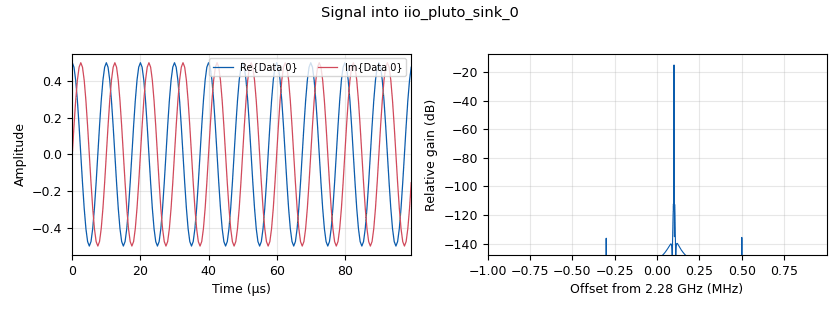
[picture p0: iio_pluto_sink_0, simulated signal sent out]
options:
  parameters:
    author: atkay
    generate_options: qt_gui
    id: test
    output_language: python
    title: Not titled yet
  states: {}

blocks:
- name: lo_freq
  id: variable
  parameters:
    value: int(2.28e9)
  states: {}
- name: samp_rate
  id: variable
  parameters:
    value: int(2e6)
  states: {}
- name: analog_sig_source_x_0
  id: analog_sig_source_x
  parameters:
    amp: '0.5'
    freq: 100e3
    offset: '0'
    phase: '0'
    samp_rate: samp_rate
    type: complex
    waveform: analog.GR_COS_WAVE
  states: {}
- name: iio_pluto_sink_0
  id: iio_pluto_sink
  parameters:
    attenuation1: '10.0'
    bandwidth: int(2e6)
    buffer_size: '32768'
    cyclic: 'False'
    filter_source: '''Auto'''
    frequency: lo_freq
    samplerate: samp_rate
    type: fc32
    uri: ip:192.168.3.1
  states: {}
- name: iio_pluto_source_0
  id: iio_pluto_source
  parameters:
    bandwidth: int(2e6)
    bbdc: 'True'
    buffer_size: '32768'
    filter_source: '''Auto'''
    frequency: lo_freq
    gain1: '''manual'''
    manual_gain1: '40'
    quadrature: 'True'
    rfdc: 'True'
    samplerate: samp_rate
    type: fc32
    uri: ip:192.168.2.1
  states: {}
- name: qtgui_freq_sink_x_0
  id: qtgui_freq_sink_x
  parameters:
    bw: samp_rate
    fc: '0'
    fftsize: '1024'
    type: complex
  states: {}
- name: qtgui_time_sink_x_0
  id: qtgui_time_sink_x
  parameters:
    size: '1024'
    srate: samp_rate
    type: complex
  states: {}

connections:
- [analog_sig_source_x_0, '0', iio_pluto_sink_0, '0']
- [iio_pluto_source_0, '0', qtgui_freq_sink_x_0, '0']
- [iio_pluto_source_0, '0', qtgui_time_sink_x_0, '0']

metadata:
  file_format: 1
  grc_version: 3.10.12.0
